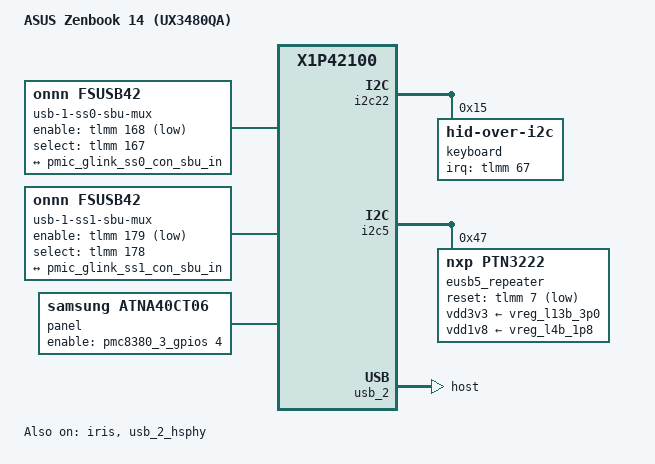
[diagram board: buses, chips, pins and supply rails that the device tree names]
// SPDX-License-Identifier: BSD-3-Clause
/*
 * ASUS Zenbook 14 (UX3480QA), Snapdragon X X1-26-100 (Purwa).
 *
 * Same platform as the Zenbook A14 UX3407QA. The differences below come
 * from this machine's DSDT, the resources Windows assigns its devices,
 * and boots on it.
 */

/dts-v1/;

#include "x1p42100-asus-zenbook-a14.dtsi"

/ {
	model = "ASUS Zenbook 14 (UX3480QA)";
	compatible = "asus,zenbook-14-ux3480qa", "qcom,x1p42100";

	/*
	 * The A14's camera indicator on TLMM 110 belongs to its MIPI camera.
	 * This camera is USB and lights its own LED; the DSDT uses TLMM 110
	 * only in the reference CAMP device.
	 */
	/delete-node/ leds;

	/*
	 * Sound over both USB-C DisplayPort controllers and HDMI (mdss_dp2,
	 * through the HDMI bridge), as on the ThinkPad T14s.
	 *
	 * The internal microphones on VA DMIC0/1 are powered from the WCD938x's
	 * MIC BIAS3, as on Qualcomm's X1 reference designs, not from MIC BIAS1
	 * like the A14's: with MIC BIAS3 on, both record a 1 kHz tone played on
	 * the speakers; MIC BIAS1, 2 and 4 leave them silent.
	 */
	sound {
		audio-routing = "SpkrLeft IN", "WSA WSA_SPK1 OUT",
				"SpkrRight IN", "WSA WSA_SPK2 OUT",
				"IN1_HPHL", "HPHL_OUT",
				"IN2_HPHR", "HPHR_OUT",
				"AMIC2", "MIC BIAS2",
				"VA DMIC0", "MIC BIAS3",
				"VA DMIC1", "MIC BIAS3",
				"TX SWR_INPUT1", "ADC2_OUTPUT";

		displayport-0-dai-link {
			link-name = "DisplayPort0 Playback";

			codec {
				sound-dai = <&mdss_dp0>;
			};

			cpu {
				sound-dai = <&q6apmbedai DISPLAY_PORT_RX_0>;
			};

			platform {
				sound-dai = <&q6apm>;
			};
		};

		displayport-1-dai-link {
			link-name = "DisplayPort1 Playback";

			codec {
				sound-dai = <&mdss_dp1>;
			};

			cpu {
				sound-dai = <&q6apmbedai DISPLAY_PORT_RX_1>;
			};

			platform {
				sound-dai = <&q6apm>;
			};
		};

		displayport-2-dai-link {
			link-name = "DisplayPort2 Playback";

			codec {
				sound-dai = <&mdss_dp2>;
			};

			cpu {
				sound-dai = <&q6apmbedai DISPLAY_PORT_RX_2>;
			};

			platform {
				sound-dai = <&q6apm>;
			};
		};
	};
};

/delete-node/ &cam_indicator_en;

/* The keyboard is on i2c22, not on the A14's i2c8 */
&i2c8 {
	status = "disabled";
};

&i2c22 {
	/*
	 * Windows reports this controller (0x898000) on GSI 846 and the
	 * DSDT's _CRS agrees: SPI 814, not hamoa.dtsi's 461.
	 */
	interrupts = <GIC_SPI 814 IRQ_TYPE_LEVEL_HIGH>;

	status = "okay";

	/* ASUSTeK, 0B05:4B42 */
	keyboard@15 {
		compatible = "hid-over-i2c";
		reg = <0x15>;

		hid-descr-addr = <0x1>;
		interrupts-extended = <&tlmm 67 IRQ_TYPE_LEVEL_LOW>;

		pinctrl-0 = <&kybd_default>;
		pinctrl-names = "default";

		wakeup-source;
	};
};

/*
 * The webcam and IR camera (one USB device, 3277:00ef) sit on usb_2
 * (the DSDT's \_SB.USB4) behind an eUSB2 repeater at 0x47 on this bus,
 * reset TLMM 7 (GpioIo, pull-up). Supplies as on other X1 laptops with a
 * USB camera on usb_2, e.g. the ASUS Vivobook S15.
 */
&i2c5 {
	eusb5_repeater: redriver@47 {
		compatible = "nxp,ptn3222";
		reg = <0x47>;
		#phy-cells = <0>;

		vdd3v3-supply = <&vreg_l13b_3p0>;
		vdd1v8-supply = <&vreg_l4b_1p8>;

		reset-gpios = <&tlmm 7 GPIO_ACTIVE_LOW>;

		pinctrl-0 = <&eusb5_reset_n>;
		pinctrl-names = "default";
	};
};

/*
 * The Purwa video codec node is complete in the base tree; only the
 * firmware is board-specific: ASUS's OEM-signed qcvss8380.mbn from the
 * UX3480QA BSP (IMAGE_VARIANT_STRING=PROD).
 */
&iris {
	firmware-name = "qcom/x1p42100/ASUSTeK/zenbook-a14/qcvss8380.mbn";

	status = "okay";
};

/*
 * The USB-C ports are USB 3.2 Gen 2 without USB4, and there are no PS8833
 * retimers: nothing answers on i2c3 or i2c7 at any address, and with the
 * retimers' rails off and reset asserted a 10 Gb/s device links in both
 * orientations. The QMP PHYs connect to the connectors directly, and
 * TLMM 167/168 and 178/179 (in the DSDT's UCS0) drive SBU muxes as on the
 * QCP; 168 and 179 read high with the internal pull-down, an active-low
 * enable pulled up on the board.
 */
/delete-node/ &vreg_rtmr0_1p15;
/delete-node/ &vreg_rtmr0_1p8;
/delete-node/ &vreg_rtmr0_3p3;
/delete-node/ &vreg_rtmr1_1p15;
/delete-node/ &vreg_rtmr1_1p8;
/delete-node/ &vreg_rtmr1_3p3;

/ {
	usb-1-ss0-sbu-mux {
		compatible = "onnn,fsusb42", "gpio-sbu-mux";

		enable-gpios = <&tlmm 168 GPIO_ACTIVE_LOW>;
		select-gpios = <&tlmm 167 GPIO_ACTIVE_HIGH>;

		pinctrl-0 = <&usb_1_ss0_sbu_default>;
		pinctrl-names = "default";

		mode-switch;
		orientation-switch;

		port {
			usb_1_ss0_sbu_mux: endpoint {
				remote-endpoint = <&pmic_glink_ss0_con_sbu_in>;
			};
		};
	};

	usb-1-ss1-sbu-mux {
		compatible = "onnn,fsusb42", "gpio-sbu-mux";

		enable-gpios = <&tlmm 179 GPIO_ACTIVE_LOW>;
		select-gpios = <&tlmm 178 GPIO_ACTIVE_HIGH>;

		pinctrl-0 = <&usb_1_ss1_sbu_default>;
		pinctrl-names = "default";

		mode-switch;
		orientation-switch;

		port {
			usb_1_ss1_sbu_mux: endpoint {
				remote-endpoint = <&pmic_glink_ss1_con_sbu_in>;
			};
		};
	};
};

&i2c3 {
	/delete-node/ typec-mux@8;
};

&i2c7 {
	/delete-node/ typec-mux@8;
};

&pmic_glink_ss0_ss_in {
	remote-endpoint = <&usb_1_ss0_qmpphy_out>;
};

&pmic_glink_ss0_con_sbu_in {
	remote-endpoint = <&usb_1_ss0_sbu_mux>;
};

&pmic_glink_ss1_ss_in {
	remote-endpoint = <&usb_1_ss1_qmpphy_out>;
};

&pmic_glink_ss1_con_sbu_in {
	remote-endpoint = <&usb_1_ss1_sbu_mux>;
};

&usb_1_ss0_qmpphy_out {
	remote-endpoint = <&pmic_glink_ss0_ss_in>;
};

&usb_1_ss1_qmpphy_out {
	remote-endpoint = <&pmic_glink_ss1_ss_in>;
};

/*
 * The panel is a Samsung ATNA40KW01 (EDID SDC 0x4210). It runs with the
 * A14 OLED panel description until the panel has a binding of its own.
 */
&panel {
	compatible = "samsung,atna40ct06", "samsung,atna33xc20";
	enable-gpios = <&pmc8380_3_gpios 4 GPIO_ACTIVE_HIGH>;

	pinctrl-0 = <&edp_bl_en>;
	pinctrl-names = "default";
};

&tlmm {
	eusb5_reset_n: eusb5-reset-n-state {
		pins = "gpio7";
		function = "gpio";
		drive-strength = <2>;
		bias-pull-up;
		output-low;
	};

	usb_1_ss0_sbu_default: usb-1-ss0-sbu-state {
		oe-n-pins {
			pins = "gpio168";
			function = "gpio";
			bias-disable;
			drive-strength = <2>;
			output-high;
		};

		sel-pins {
			pins = "gpio167";
			function = "gpio";
			bias-disable;
			drive-strength = <2>;
		};
	};

	usb_1_ss1_sbu_default: usb-1-ss1-sbu-state {
		oe-n-pins {
			pins = "gpio179";
			function = "gpio";
			bias-disable;
			drive-strength = <2>;
			output-high;
		};

		sel-pins {
			pins = "gpio178";
			function = "gpio";
			bias-disable;
			drive-strength = <2>;
		};
	};
};

&usb_2 {
	dr_mode = "host";

	status = "okay";
};

&usb_2_hsphy {
	vdd-supply = <&vreg_l2e_0p8>;
	vdda12-supply = <&vreg_l3e_1p2>;

	phys = <&eusb5_repeater>;

	status = "okay";
};
